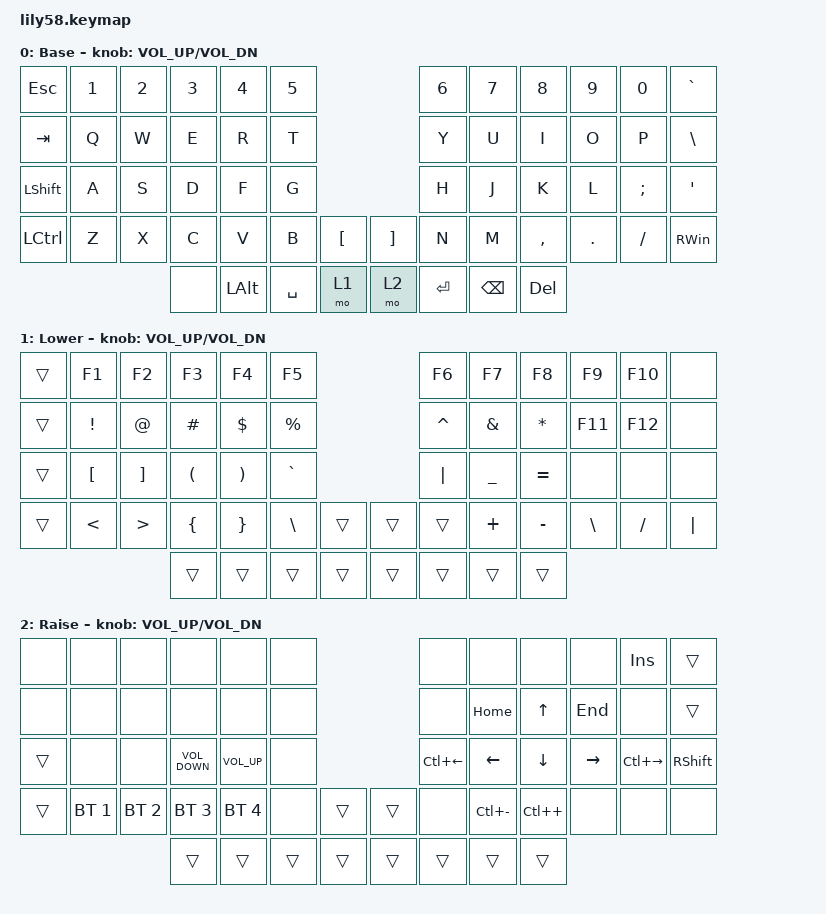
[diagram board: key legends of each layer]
/*
 * Copyright (c) 2020 The ZMK Contributors
 *
 * SPDX-License-Identifier: MIT
 */

#include <behaviors.dtsi>
#include <dt-bindings/zmk/bt.h>
#include <dt-bindings/zmk/keys.h>

/ {
    keymap {
        compatible = "zmk,keymap";

        default_layer {
            // ------------------------------------------------------------------------------------------------------------
            // |  ESC  |  1  |  2  |  3   |  4   |  5   |                   |  6   |  7    |  8    |  9   |   0   |   `   |
            // |  TAB  |  Q  |  W  |  E   |  R   |  T   |                   |  Y   |  U    |  I    |  O   |   P   |   -   |
            // |  CTRL |  A  |  S  |  D   |  F   |  G   |                   |  H   |  J    |  K    |  L   |   ;   |   '   |
            // | SHIFT |  Z  |  X  |  C   |  V   |  B   |   "["  |  |  "]"  |  N   |  M    |  ,    |  .   |   /   | SHIFT |
            //                     | ALT  | GUI  | LOWER|  SPACE |  | ENTER | RAISE| BSPC  | GUI   |

            display-name = "Base";
            bindings = <
&kp ESC         &kp N1  &kp N2  &kp N3  &kp N4        &kp N5                           &kp N6     &kp N7         &kp N8     &kp N9   &kp N0    &kp GRAVE
&kp TAB         &kp Q   &kp W   &kp E   &kp R         &kp T                            &kp Y      &kp U          &kp I      &kp O    &kp P     &kp BACKSLASH
&kp LEFT_SHIFT  &kp A   &kp S   &kp D   &kp F         &kp G                            &kp H      &kp J          &kp K      &kp L    &kp SEMI  &kp SQT
&kp LCTRL       &kp Z   &kp X   &kp C   &kp V         &kp B      &kp LBKT    &kp RBKT  &kp N      &kp M          &kp COMMA  &kp DOT  &kp FSLH  &kp RIGHT_WIN
                                &none   &kp LEFT_ALT  &kp SPACE  &mo 1       &mo 2     &kp ENTER  &kp BACKSPACE  &kp DEL
            >;

            sensor-bindings = <&inc_dec_kp C_VOL_UP C_VOL_DN>;
        };

        lower_layer {
            // ------------------------------------------------------------------------------------------------------------
            // | BTCLR | BT1 | BT2 |  BT3 |  BT4 |  BT5 |                   |      |       |       |      |       |       |
            // |  F1   |  F2 |  F3 |  F4  |  F5  |  F6  |                   |  F7  |  F8   |  F9   |  F10 |  F11  |  F12  |
            // |   `   |  !  |  @  |  #   |  $   |  %   |                   |  ^   |  &    |  *    |  (   |   )   |   ~   |
            // |       |     |     |      |      |      |        |  |       |      |  _    |  +    |  {   |   }   |  "|"  |
            //                     |      |      |      |        |  |       |      |       |       |

            display-name = "Lower";
            bindings = <
&trans  &kp F1           &kp F2            &kp F3                &kp F4                 &kp F5                         &kp F6     &kp F7          &kp F8     &kp F9         &kp F10    &none
&trans  &kp EXCLAMATION  &kp AT            &kp POUND             &kp DOLLAR             &kp PERCENT                    &kp CARET  &kp AMPS        &kp STAR   &kp F11        &kp F12    &none
&trans  &kp LBKT         &kp RBKT          &kp LEFT_PARENTHESIS  &kp RIGHT_PARENTHESIS  &kp GRAVE                      &kp PIPE   &kp UNDERSCORE  &kp EQUAL  &none          &none      &none
&trans  &kp LESS_THAN    &kp GREATER_THAN  &kp LEFT_BRACE        &kp RIGHT_BRACE        &kp BSLH     &trans    &trans  &trans     &kp PLUS        &kp MINUS  &kp BACKSLASH  &kp SLASH  &kp PIPE
                                           &trans                &trans                 &trans       &trans    &trans  &trans     &trans          &trans
            >;

            sensor-bindings = <&inc_dec_kp C_VOL_UP C_VOL_DN>;
        };

        raise_layer {
            // ------------------------------------------------------------------------------------------------------------
            // |       |     |     |      |      |      |                   |      |       |       |      |       |       |
            // |   `   |  1  |  2  |  3   |  4   |  5   |                   |  6   |   7   |   8   |  9   |   0   |       |
            // |   F1  |  F2 |  F3 |  F4  |  F5  |  F6  |                   |      |   <-  |   v   |  ^   |  ->   |       |
            // |   F7  |  F8 |  F9 |  F10 |  F11 |  F12 |        |  |       |  +   |   -   |   =   |  [   |   ]   |   \   |
            //                     |      |      |      |        |  |       |      |       |       |

            display-name = "Raise";
            bindings = <
&none   &none         &none         &none              &none            &none                     &none         &none          &none         &none      &kp INSERT     &trans
&none   &none         &none         &none              &none            &none                     &none         &kp HOME       &kp UP_ARROW  &kp END    &none          &trans
&trans  &none         &none         &kp C_VOLUME_DOWN  &kp C_VOLUME_UP  &none                     &kp LC(LEFT)  &kp LEFT       &kp DOWN      &kp RIGHT  &kp LC(RIGHT)  &kp RIGHT_SHIFT
&trans  &bt BT_SEL 1  &bt BT_SEL 2  &bt BT_SEL 3       &bt BT_SEL 4     &none   &trans    &trans  &none         &kp LC(MINUS)  &kp LC(PLUS)  &none      &none          &none
                                    &trans             &trans           &trans  &trans    &trans  &trans        &trans         &trans
            >;

            sensor-bindings = <&inc_dec_kp C_VOL_UP C_VOL_DN>;
        };
    };
};
